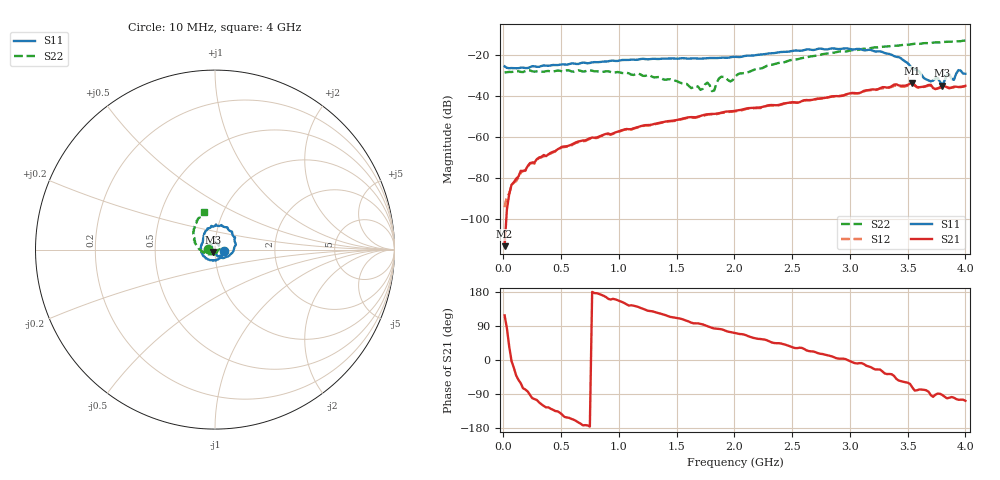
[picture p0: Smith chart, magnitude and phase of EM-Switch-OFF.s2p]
! 9/28/2016 3:23:57 PM
! C:\USERS\ANRITSUUSER\DESKTOP\SWITCHES\EM-SWITCH-OFF.S2P
! CHANNEL.1
! TR.MEASUREMENT
! CORRECTED.DATA
# GHZ S RI R 50.0
! FREQ.GHZ  S11RE  S11IM  S21RE  S21IM  S12RE  S12IM  S22RE  S22IM
!; PortSelection: Port_12
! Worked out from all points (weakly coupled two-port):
!   201 points, 10 MHz to 4 GHz, reference 50 ohm
!   highest |S21| = -33.81 dB at 3.541 GHz (marker M1); lowest = -113.4 dB at 10 MHz (marker M2)
!   lowest |S11| = -35.2 dB at 3.8 GHz (marker M3), VSWR 1.04, Z = 48.8 - j1.26 ohm
!   |S11| at or under -10 dB: start of sweep to end of sweep
!   |S22| runs from -37.8 to -13.1 dB; largest |S21 - S12| = 0.0013
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0.01  0.0513 -0.00556  -1e-06 1.9e-06  -1.9e-05 -2.2e-06  -0.0365 0.0022
0.1297  0.0441 -0.0151  6.51e-05 -8.43e-05  6.14e-05 -8.04e-05  -0.0377 0.0108
0.30925  0.0363 -0.0349  -0.000117 -0.000288  -0.000121 -0.000277  -0.0301 0.0251
0.6883  -0.0111 -0.0626  -0.000799 -0.000107  -0.000772 -7.88e-05  -0.00484 0.0381
1.34665  -0.0778 0.00499  -0.00119 0.0018  -0.00112 0.0018  0.025 0.0135
1.70575  -0.0683 0.0401  -0.000299 0.00319  -0.000226 0.00313  0.00998 -0.0095
1.7656  -0.0679 0.0453  4.12e-05 0.00351  8.87e-05 0.00343  0.00984 -0.0182
1.8055  -0.068 0.0467  0.000324 0.00357  0.000386 0.00346  0.00497 -0.0118
1.8853  -0.0666 0.0511  0.000591 0.00379  0.000697 0.00371  -0.00734 -0.0278
1.9651  -0.0646 0.0562  0.00116 0.00398  0.00122 0.00386  -0.00724 -0.0208
2.005  -0.0667 0.0575  0.00137 0.00404  0.00136 0.00388  -0.0181 -0.0221
2.6833  -0.00884 0.1287  0.00738 0.00305  0.00737 0.00293  -0.0916 0.00723
3.34165  0.103 -0.00728  0.0127 -0.00952  0.0122 -0.00992  -0.1174 0.1075
3.54115  0.0298 -0.0331  0.00609 -0.0195  0.00578 -0.0183  -0.1102 0.1425
3.58105  0.0171 -0.0383  0.00284 -0.0159  0.00303 -0.0156  -0.1084 0.146
3.70075  0.00172 -0.0222  -0.000904 -0.0183  -0.000433 -0.0173  -0.0975 0.1636
3.7606  -0.0106 -0.0245  0.000365 -0.015  0.000161 -0.015  -0.0908 0.175
3.8005  -0.0118 -0.0129  -0.000678 -0.0167  -0.00071 -0.0161  -0.085 0.1816
3.8404  -0.0274 -0.0167  -0.00309 -0.0157  -0.00265 -0.0158  -0.0844 0.186
3.90025  -0.0237 -0.00472  -0.00273 -0.0163  -0.00281 -0.0157  -0.0715 0.197
3.94015  -0.0416 -0.00424  -0.00418 -0.0155  -0.00397 -0.0158  -0.068 0.1991
4  -0.0337 0.00492  -0.00528 -0.0165  -0.0053 -0.0159  -0.0603 0.2121
